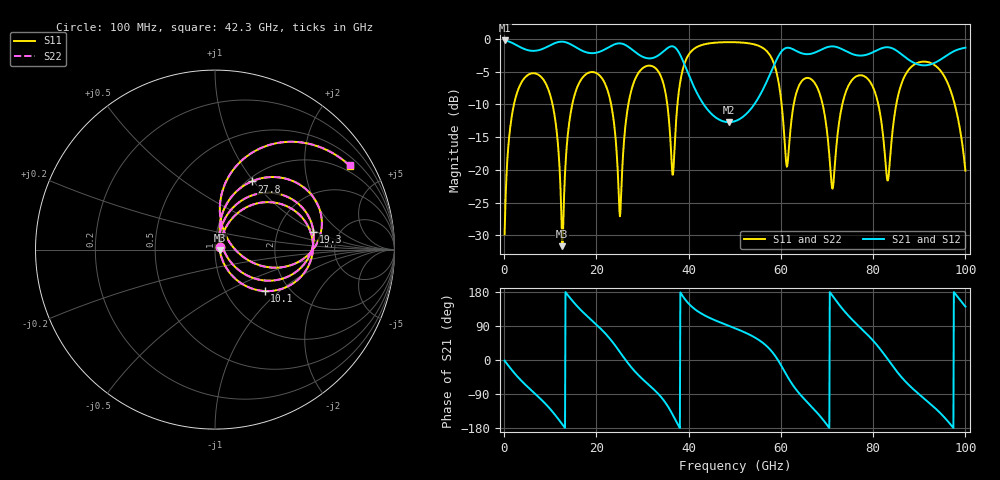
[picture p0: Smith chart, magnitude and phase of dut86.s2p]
! Touchstone file exported from HFSS 2026.1.0
!  File:  C:/ffzhzh/LocalFiles/Ansys_Project_Files/temp_train_TSV_RDL_86_1783452336_34316.aedt
!  Generated:  03:56:38 AM Jul  8, 2026
!  Design:  TSV_RDL
!  Project:  temp_train_TSV_RDL_86_1783452336_34316
! Variables:
!  h_bsmrdl = 4.65um
!  h_ox = 20um
!  h_rdl = 5um
!  h_sub = 73.08um
!  h_tmrdl = 2.84um
!  h_tsv = 73.08um
!  h_via = 3um
!  l_bsmrdl = 382.43um
!  l_sub = 4449.58um
!  l_tmrdl = 693.72um
!  m_sub = 200um
!  pitch = 48.11um
!  r_tsv = 9.89um
!  s_tmrdl = 10um
!  w_bsmrdl = 27.5um
!  w_sub = 500um
!  w_tmrdl = 14.97um
!  x_tsv_center1 = 701.205um
!  x_tsv_center2 = 1111.135um
!  x_tsv_center3 = 1819.825um
!  x_tsv_center4 = 2229.755um
!  x_tsv_center5 = 2938.445um
!  x_tsv_center6 = 3348.375um
# GHz S MA R 50.000000
! Terminal data exported
! Port[1] = TM_RDL1_1_T1
! Port[2] = TM_RDL5_1_T1
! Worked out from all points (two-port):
!   1000 points, 100 MHz to 100 GHz, reference 50 ohm
!   highest |S21| = -0.24 dB at 100 MHz (marker M1); lowest = -12.7 dB at 48.7 GHz (marker M2)
!   |S21| within 3 dB of the highest: start of sweep to 38.69 GHz; 59.03 GHz to 87.82 GHz (28.79 GHz wide, 39.2 % of centre) (the widest 2 of 3)
!   lowest |S11| = -31.7 dB at 12.6 GHz (marker M3), VSWR 1.05, Z = 52.7 - j0.232 ohm
!   |S11| at or under -10 dB: 10.49 GHz to 14.77 GHz (4.282 GHz wide, 33.9 % of centre); 69.05 GHz to 73.32 GHz (4.273 GHz wide, 6 % of centre); 81.12 GHz to 85.02 GHz (3.897 GHz wide, 4.69 % of centre) (the widest 3 of 8)
!   |S22| runs from -31.6 to -0.5 dB; largest |S21 - S12| = 1.4e-11
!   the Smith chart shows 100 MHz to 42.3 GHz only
!   S11 on the Smith chart (normalised r, x): 100 MHz: 1.06, +0.04; 10.1 GHz: 1.51, -0.80; 19.3 GHz: 3.22, +0.94; 27.8 GHz: 1.05, +0.98; 42.3 GHz: 0.78, +3.32
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0.1  0.03214 31.5  0.9729 -1.7  0.9729 -1.7  0.03214 31.5
! Gamma 0 0 0 0
! Port Impedance 50 0 50 0
3.2  0.4238 38.1  0.8757 -47.9  0.8757 -47.9  0.4238 38.1
10.1  0.3605 -39.9  0.8979 -131.0  0.8979 -131.0  0.3605 -39.8
12.6  0.02609 -4.8  0.9523 -169.6  0.9523 -169.6  0.02631 -4.7
16.8  0.4953 36.9  0.8159 129.7  0.8159 129.7  0.4953 36.9
19.3  0.5577 10.4  0.7782 101.3  0.7782 101.3  0.5577 10.4
25.1  0.04415 16.9  0.9243 20.9  0.9243 20.9  0.04433 17.0
27.8  0.4314 61.7  0.8252 -22.6  0.8252 -22.6  0.4314 61.7
33.4  0.5657 3.0  0.7469 -89.2  0.7469 -89.2  0.5656 2.9
36.6  0.09163 39.5  0.8762 -145.8  0.8762 -145.8  0.09105 39.6
42.3  0.884 32.0  0.3585 126.0  0.3585 126.0  0.884 32.0
48.7  0.9447 -0.3  0.2311 90.2  0.2311 90.2  0.9447 -0.3
50.1  0.9433 -6.4  0.2355 83.5  0.2355 83.5  0.9433 -6.3
57.4  0.7709 -52.7  0.5133 31.0  0.5133 31.0  0.771 -52.7
60.3  0.2819 -85.3  0.8144 -19.6  0.8144 -19.6  0.2822 -85.3
66.7  0.4879 -32.2  0.7725 -123.8  0.7725 -123.8  0.4878 -32.2
71.2  0.07172 -8.9  0.8767 169.1  0.8767 169.1  0.07211 -8.9
75.1  0.4679 16.2  0.7754 110.9  0.7754 110.9  0.4679 16.2
83.4  0.09323 24.4  0.862 -1.9  0.862 -1.9  0.0942 24.2
86.3  0.4702 34.3  0.7555 -47.4  0.7555 -47.4  0.4705 34.1
92  0.6632 -20.4  0.6328 -111.4  0.6328 -111.4  0.6633 -20.5
100  0.09851 -98.7  0.8569 140.9  0.8569 140.9  0.09883 -98.4
